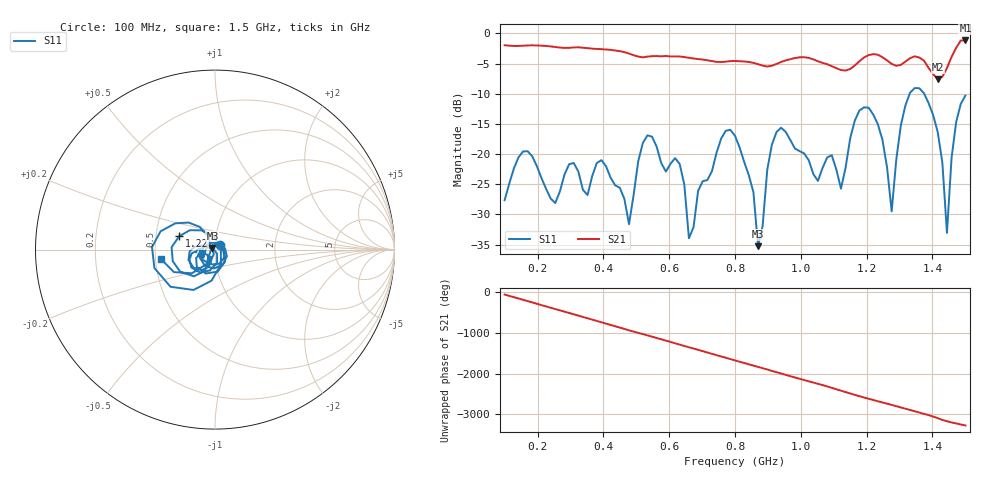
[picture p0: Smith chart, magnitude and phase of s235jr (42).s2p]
! NanoVNA-App
! Date: 2025-09-26 09:45:07
! Start: 100MHz Stop: 1,5GHz Points: 101
! S-Parameter data: F S11 S21 S12 S22
# Hz S RI R 50
!  Frequency  S11_Real  S11_Imag  S21_Real  S21_Imag  S12_Real  S12_Imag  S22_Real  S22_Imag
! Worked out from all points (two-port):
!   101 points, 100 MHz to 1.5 GHz, reference 50 ohm
!   highest |S21| = -1.16 dB at 1.5 GHz (marker M1); lowest = -7.6 dB at 1.416 GHz (marker M2)
!   |S21| within 3 dB of the highest: start of sweep to 675.2 MHz; 1.188 GHz to 1.254 GHz (65.68 MHz wide, 5.38 % of centre) (the widest 2 of 5)
!   lowest |S11| = -35.3 dB at 870 MHz (marker M3), VSWR 1.04, Z = 48.6 + j0.926 ohm
!   |S11| at or under -10 dB: start of sweep to 1.331 GHz; 1.375 GHz to end of sweep
!   S12 and S22 are empty: the file has one direction only
!   S11 on the Smith chart (normalised r, x): 100 MHz: 1.06, +0.06; 1.22 GHz: 0.66, +0.10; 1.5 GHz: 0.53, -0.06
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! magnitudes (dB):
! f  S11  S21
! 100 MHz  -27.7  -2.0
! 156 MHz  -19.6  -2.0
! 338 MHz  -25.9  -2.4
! 394 MHz  -21.0  -2.6
! 478 MHz  -31.6  -3.3
! 520 MHz  -18.2  -4.0
! 576 MHz  -21.5  -3.8
! 632 MHz  -21.7  -3.8
! 660 MHz  -34.0  -4.0
! 800 MHz  -17.0  -4.6
! 870 MHz  -35.3  -5.1
! 926 MHz  -16.4  -5.1
! 1.038 GHz  -23.3  -4.3
! 1.122 GHz  -25.7  -6.1
! 1.164 GHz  -14.4  -5.3
! 1.22 GHz  -13.4  -3.4
! 1.276 GHz  -29.5  -5.0
! 1.332 GHz  -9.8  -4.1
! 1.416 GHz  -16.4  -7.6
! 1.444 GHz  -33.1  -5.7
! 1.472 GHz  -14.7  -2.4
! 1.5 GHz  -10.3  -1.2
